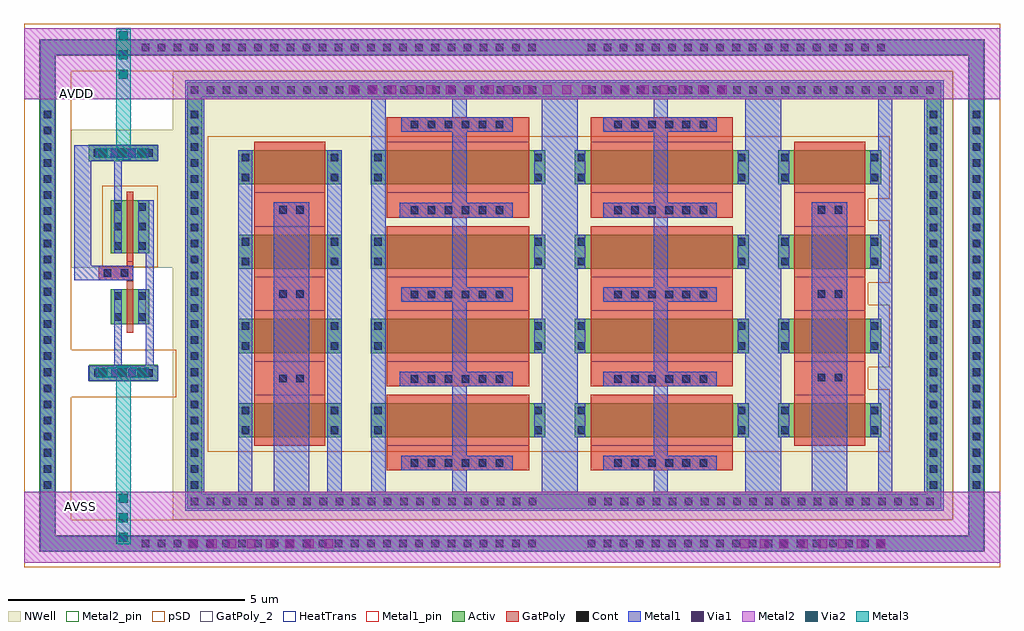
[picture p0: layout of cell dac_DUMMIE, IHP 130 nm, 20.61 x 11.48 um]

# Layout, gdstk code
import gdstk
lib = gdstk.Library(unit=1e-6, precision=1e-09)
def R(c, l, rs):  # rectangles x0, y0, x1, y1
    for r in rs: c.add(gdstk.rectangle(r[:2], r[2:], *l))
def A(c, l, x, y, w, h, nx, ny, dx, dy):  # array of equal rectangles
    R(c, l, [(x+i*dx, y+j*dy, x+i*dx+w, y+j*dy+h) for i in range(nx) for j in range(ny)])
def P(c, l, *ps):  # polygons
    for p in ps: c.add(gdstk.Polygon(p, *l))
Activ = (1, 0)
GatPoly = (5, 0)
GatPoly_2 = (5, 2)
Cont = (6, 0)
Metal1 = (8, 0)
Metal1_pin = (8, 2)
Metal2 = (10, 0)
Metal2_pin = (10, 2)
pSD = (14, 0)
Via1 = (19, 0)
Via2 = (29, 0)
Metal3 = (30, 0)
NWell = (31, 0)
HeatTrans = (51, 0)

pmos_3 = lib.new_cell('pmos$3')
R(pmos_3, Activ, [(0,0,0.3,0.3), (0,0,2.18,0.72), (1.88,0,2.18,0.3)])
R(pmos_3, GatPoly, [(0.34,-0.18,1.84,0.9), (0.34,-0.18,1.84,0.9)])
R(pmos_3, Cont, [(0.07,0.07,0.23,0.23), (1.95,0.07,2.11,0.23), (0.07,0.49,0.23,0.65), (1.95,0.49,2.11,0.65)])
R(pmos_3, Metal1, [(0.07,0,0.23,0.72), (0.07,0,0.23,0.72), (1.95,0,2.11,0.72), (1.95,0,2.11,0.72)])
R(pmos_3, pSD, [(-0.18,-0.3,2.36,1.02)])
R(pmos_3, NWell, [(-0.31,-0.31,2.49,1.03)])
R(pmos_3, HeatTrans, [(0.34,-0.18,1.84,0.9)])
pmos_3.add(gdstk.Label('pmos', (1.09,0.36), layer=63, texttype=0))
pmos_3.add(gdstk.Label('pmos', (1.09,0.36), layer=51, texttype=0))

via_stack_5 = lib.new_cell('via_stack$5')
R(via_stack_5, Metal1, [(-1.58,-0.105,1.58,0.105)])
R(via_stack_5, Metal2, [(-1.58,-0.1,1.58,0.1)])
A(via_stack_5, Via1, -1.53, -0.095, 0.19, 0.19, 8, 1, 0.41, 0)

via_stack_18 = lib.new_cell('via_stack$18')
R(via_stack_18, Metal1, [(-4.04,-0.105,4.04,0.105)])
R(via_stack_18, Metal2, [(-4.04,-0.1,4.04,0.1)])
A(via_stack_18, Via1, -3.99, -0.095, 0.19, 0.19, 20, 1, 0.41, 0)

via_stack_8 = lib.new_cell('via_stack$8')
R(via_stack_8, Metal2, [(-0.1,-0.555,0.1,0.555)])
A(via_stack_8, Via2, -0.095, -0.505, 0.19, 0.19, 1, 3, 0, 0.41)
R(via_stack_8, Metal3, [(-0.1,-0.555,0.1,0.555)])

via_stack_6 = lib.new_cell('via_stack$6')
R(via_stack_6, Metal1, [(-0.555,-0.105,0.555,0.105)])
R(via_stack_6, Metal2, [(-0.555,-0.1,0.555,0.1)])
A(via_stack_6, Via1, -0.505, -0.095, 0.19, 0.19, 3, 1, 0.41, 0)
A(via_stack_6, Via2, -0.505, -0.095, 0.19, 0.19, 3, 1, 0.41, 0)
R(via_stack_6, Metal3, [(-0.555,-0.1,0.555,0.1)])

pmos_2 = lib.new_cell('pmos$2')
R(pmos_2, Activ, [(0,0,0.3,0.3), (0,0,0.81,1.12), (0.51,0,0.81,0.3)])
R(pmos_2, GatPoly, [(0.34,-0.18,0.47,1.3), (0.34,-0.18,0.47,1.3)])
A(pmos_2, Cont, 0.07, 0.07, 0.16, 0.16, 1, 3, 0, 0.41)
A(pmos_2, Cont, 0.58, 0.07, 0.16, 0.16, 1, 3, 0, 0.41)
R(pmos_2, Metal1, [(0.07,0,0.23,1.12), (0.07,0,0.23,1.12), (0.58,0,0.74,1.12), (0.58,0,0.74,1.12)])
R(pmos_2, pSD, [(-0.18,-0.3,0.99,1.42)])
R(pmos_2, NWell, [(-0.31,-0.31,1.12,1.43)])
R(pmos_2, HeatTrans, [(0.34,-0.18,0.47,1.3)])
pmos_2.add(gdstk.Label('pmos', (0.405,0.56), layer=63, texttype=0))
pmos_2.add(gdstk.Label('pmos', (0.405,0.56), layer=51, texttype=0))

nmos_1 = lib.new_cell('nmos$1')
R(nmos_1, Activ, [(0,0,0.3,0.3), (0,0,0.81,0.74), (0.51,0,0.81,0.3)])
R(nmos_1, GatPoly, [(0.34,-0.18,0.47,0.92)])
R(nmos_1, GatPoly_2, [(0.34,-0.18,0.47,0.92)])
R(nmos_1, Cont, [(0.07,0.07,0.23,0.23), (0.58,0.07,0.74,0.23), (0.07,0.51,0.23,0.67), (0.58,0.51,0.74,0.67)])
R(nmos_1, Metal1, [(0.07,0,0.23,0.74), (0.58,0,0.74,0.74)])
R(nmos_1, Metal1_pin, [(0.07,0,0.23,0.74), (0.58,0,0.74,0.74)])
R(nmos_1, HeatTrans, [(0.34,-0.18,0.47,0.92)])
nmos_1.add(gdstk.Label('nmos', (0.405,0.37), layer=63, texttype=0))
nmos_1.add(gdstk.Label('nmos', (0.405,0.37), layer=51, texttype=0))

pmos_4 = lib.new_cell('pmos$4')
R(pmos_4, Activ, [(0,0,0.3,0.3), (0,0,3.68,0.72), (3.38,0,3.68,0.3)])
R(pmos_4, GatPoly, [(0.34,-0.18,3.34,0.9), (0.34,-0.18,3.34,0.9)])
R(pmos_4, Cont, [(0.07,0.07,0.23,0.23), (3.45,0.07,3.61,0.23), (0.07,0.49,0.23,0.65), (3.45,0.49,3.61,0.65)])
R(pmos_4, Metal1, [(0.07,0,0.23,0.72), (0.07,0,0.23,0.72), (3.45,0,3.61,0.72), (3.45,0,3.61,0.72)])
R(pmos_4, pSD, [(-0.18,-0.3,3.86,1.02)])
R(pmos_4, NWell, [(-0.31,-0.31,3.99,1.03)])
R(pmos_4, HeatTrans, [(0.34,-0.18,3.34,0.9)])
pmos_4.add(gdstk.Label('pmos', (1.84,0.36), layer=63, texttype=0))
pmos_4.add(gdstk.Label('pmos', (1.84,0.36), layer=51, texttype=0))

dac_dummie = lib.new_cell('dac_DUMMIE')
R(dac_dummie, Activ, [(22.665,144.725,24.115,145.075), (22.66,149.375,24.11,149.725)])
P(dac_dummie, Activ, [(24.74,142.04),(24.74,150.73),(25.05,150.73),(25.05,142.35),(40.35,142.35),(40.35,150.73),(24.74,150.73),(24.74,151.04),(40.66,151.04),(40.66,142.04)])
A(dac_dummie, GatPoly, 26.155, 144.445, 1.5, 0.7, 1, 3, 0, 1.78)
A(dac_dummie, GatPoly, 37.555, 144.445, 1.5, 0.7, 1, 3, 0, 1.78)
A(dac_dummie, GatPoly, 26.575, 144.635, 0.73, 0.31, 1, 3, 0, 1.78)
R(dac_dummie, GatPoly, [(28.955,142.845,31.955,143.365), (29.255,142.845,31.615,143.155), (33.255,142.845,36.255,143.365), (33.255,142.845,36.255,143.365), (33.525,142.845,35.915,143.155), (33.525,142.845,35.915,143.155), (28.955,144.625,31.955,145.145), (33.255,144.625,36.255,145.145), (37.945,144.65,38.675,144.96), (23.465,145.755,23.595,148.735), (28.955,146.225,31.955,146.925), (33.255,146.225,36.255,146.925), (29.255,146.405,31.615,146.715), (33.525,146.405,35.915,146.715), (37.945,146.42,38.675,146.73), (22.865,146.86,23.595,147.17), (28.955,148.185,31.955,148.705), (33.255,148.185,36.255,148.705), (37.945,148.195,38.675,148.505), (28.955,149.785,31.955,150.305), (33.255,149.785,36.255,150.305), (29.255,149.995,31.615,150.305), (33.525,149.995,35.915,150.305)])
A(dac_dummie, Cont, 23.775, 141.22, 0.16, 0.16, 25, 1, 0.34, 0)
A(dac_dummie, Cont, 33.19, 141.22, 0.16, 0.16, 19, 2, 0.34, 10.475)
A(dac_dummie, Cont, 24.81, 142.11, 0.16, 0.16, 22, 2, 0.34, 8.69)
A(dac_dummie, Cont, 33.205, 142.11, 0.16, 0.16, 22, 2, 0.34, 8.69)
A(dac_dummie, Cont, 24.81, 142.46, 0.16, 0.16, 1, 24, 0, 0.34)
A(dac_dummie, Cont, 40.42, 142.46, 0.16, 0.16, 1, 24, 0, 0.34)
A(dac_dummie, Cont, 29.455, 142.92, 0.16, 0.16, 6, 4, 0.36, 1.78)
A(dac_dummie, Cont, 33.755, 142.92, 0.16, 0.16, 6, 4, 0.36, 1.78)
A(dac_dummie, Cont, 26.68, 144.71, 0.16, 0.16, 1, 3, 0, 1.78)
A(dac_dummie, Cont, 27.04, 144.71, 0.16, 0.16, 1, 3, 0, 1.78)
A(dac_dummie, Cont, 22.77, 144.82, 0.16, 0.16, 4, 1, 0.36, 0)
A(dac_dummie, Cont, 41.32, 147.9, 0.16, 0.16, 1, 3, 0, 0.34)
A(dac_dummie, Cont, 22.765, 149.47, 0.16, 0.16, 4, 1, 0.36, 0)
A(dac_dummie, Cont, 29.455, 150.07, 0.16, 0.16, 6, 1, 0.36, 0)
A(dac_dummie, Cont, 33.755, 150.07, 0.16, 0.16, 6, 1, 0.36, 0)
A(dac_dummie, Cont, 23.775, 151.695, 0.16, 0.16, 23, 1, 0.34, 0)
R(dac_dummie, Cont, [(21.71,142.46,21.87,142.62), (21.71,142.46,21.87,142.62), (41.32,142.46,41.48,142.62), (41.32,142.46,41.48,142.62), (21.71,142.8,21.87,142.96), (21.71,142.8,21.87,142.96), (41.32,142.8,41.48,142.96), (41.32,142.8,41.48,142.96), (21.71,143.14,21.87,143.3), (21.71,143.14,21.87,143.3), (41.32,143.14,41.48,143.3), (41.32,143.14,41.48,143.3), (21.71,143.48,21.87,143.64), (21.71,143.48,21.87,143.64), (41.32,143.48,41.48,143.64), (41.32,143.48,41.48,143.64), (21.71,143.82,21.87,143.98), (21.71,143.82,21.87,143.98), (41.32,143.82,41.48,143.98), (41.32,143.82,41.48,143.98), (21.71,144.16,21.87,144.32), (21.71,144.16,21.87,144.32), (41.32,144.16,41.48,144.32), (41.32,144.16,41.48,144.32), (21.71,144.5,21.87,144.66), (21.71,144.5,21.87,144.66), (41.32,144.5,41.48,144.66), (41.32,144.5,41.48,144.66), (38.05,144.725,38.21,144.885), (38.41,144.725,38.57,144.885), (21.71,144.84,21.87,145), (21.71,144.84,21.87,145), (41.32,144.84,41.48,145), (41.32,144.84,41.48,145), (21.71,145.18,21.87,145.34), (21.71,145.18,21.87,145.34), (41.32,145.18,41.48,145.34), (41.32,145.18,41.48,145.34), (21.71,145.52,21.87,145.68), (21.71,145.52,21.87,145.68), (41.32,145.52,41.48,145.68), (41.32,145.52,41.48,145.68), (21.71,145.86,21.87,146.02), (21.71,145.86,21.87,146.02), (41.32,145.86,41.48,146.02), (41.32,145.86,41.48,146.02), (21.71,146.2,21.87,146.36), (21.71,146.2,21.87,146.36), (41.32,146.2,41.48,146.36), (41.32,146.2,41.48,146.36), (38.05,146.495,38.21,146.655), (38.41,146.495,38.57,146.655), (21.71,146.54,21.87,146.7), (21.71,146.54,21.87,146.7), (41.32,146.54,41.48,146.7), (41.32,146.54,41.48,146.7), (21.71,146.88,21.87,147.04), (21.71,146.88,21.87,147.04), (41.32,146.88,41.48,147.04), (41.32,146.88,41.48,147.04), (22.97,146.935,23.13,147.095), (23.33,146.935,23.49,147.095), (21.71,147.22,21.87,147.38), (21.71,147.22,21.87,147.38), (41.32,147.22,41.48,147.38), (41.32,147.22,41.48,147.38), (21.71,147.56,21.87,147.72), (21.71,147.56,21.87,147.72), (41.32,147.56,41.48,147.72), (41.32,147.56,41.48,147.72), (21.71,147.9,21.87,148.06), (21.71,147.9,21.87,148.06), (41.32,147.9,41.48,148.06), (21.71,148.24,21.87,148.4), (21.71,148.24,21.87,148.4), (38.05,148.27,38.21,148.43), (38.41,148.27,38.57,148.43), (21.71,148.58,21.87,148.74), (21.71,148.58,21.87,148.74), (41.32,148.58,41.48,148.74), (21.71,148.92,21.87,149.08), (21.71,148.92,21.87,149.08), (41.32,148.92,41.48,149.08), (41.32,148.92,41.48,149.08), (21.71,149.26,21.87,149.42), (21.71,149.26,21.87,149.42), (41.32,149.26,41.48,149.42), (41.32,149.26,41.48,149.42), (21.71,149.6,21.87,149.76), (21.71,149.6,21.87,149.76), (41.32,149.6,41.48,149.76), (41.32,149.6,41.48,149.76), (21.71,149.94,21.87,150.1), (21.71,149.94,21.87,150.1), (41.32,149.94,41.48,150.1), (41.32,149.94,41.48,150.1), (21.71,150.28,21.87,150.44), (21.71,150.28,21.87,150.44), (41.32,150.28,41.48,150.44), (41.32,150.28,41.48,150.44), (31.255,151.695,31.415,151.855), (31.595,151.695,31.755,151.855), (31.595,151.695,31.755,151.855), (31.935,151.695,32.095,151.855), (31.935,151.695,32.095,151.855)])
A(dac_dummie, Metal1, 33.525, 142.845, 2.39, 0.31, 1, 4, 0, 1.78)
A(dac_dummie, Metal1, 26.575, 144.635, 0.73, 0.31, 1, 3, 0, 1.78)
R(dac_dummie, Metal1, [(24.69,141.99,25.1,151.09), (25.815,141.99,26.115,149.605), (26.565,141.99,27.315,148.505), (27.695,141.99,27.995,149.605), (29.255,142.845,31.615,143.155), (29.225,144.625,31.615,144.935), (37.945,144.65,38.675,144.96), (22.65,144.74,24.13,145.06), (23.195,144.74,23.355,146.675), (23.865,144.81,24.025,148.555), (29.255,146.405,31.615,146.715), (37.945,146.42,38.675,146.73), (22.355,146.86,22.71,149.71), (22.865,146.86,23.595,147.17), (23.195,147.435,23.355,149.71), (29.225,148.185,31.615,148.495), (37.945,148.195,38.675,148.505), (22.645,149.39,24.125,149.71), (29.255,149.995,31.615,150.305), (33.525,149.995,35.915,150.305)])
P(dac_dummie, Metal1, [(24.69,141.99),(24.69,150.68),(25.1,150.68),(25.1,142.4),(40.3,142.4),(40.3,150.68),(24.69,150.68),(24.69,151.09),(40.71,151.09),(40.71,141.99)])
R(dac_dummie, Metal2_pin, [(21.29,140.9,41.9,142.4), (21.29,150.68,41.9,152.18)])
R(dac_dummie, pSD, [(25.175,143.245,39.115,149.905), (22.29,144.39,22.295,145.39), (22.295,144.39,24.505,145.39)])
R(dac_dummie, NWell, [(24.43,141.8,25.005,151.28), (24.5,141.8,40.9,151.28), (22.29,147.125,24.5,150.04)])
P(dac_dummie, NWell, [(24.5,141.8),(24.5,150.49),(25.29,150.49),(25.29,142.59),(40.11,142.59),(40.11,150.49),(24.5,150.49),(24.5,151.28),(40.9,151.28),(40.9,141.8)])
dac_dummie.add(gdstk.FlexPath([(32.605,141.99),(32.605,151.09)], 0.76, ends="flush", simple_path=True, layer=8, datatype=0))  # Metal1
dac_dummie.add(gdstk.FlexPath([(23.595,147.015),(22.485,147.015)], 0.31, ends="flush", simple_path=True, layer=8, datatype=0))  # Metal1
dac_dummie.add(gdstk.FlexPath([(36.905,141.99),(36.905,151.09)], 0.76, ends="flush", simple_path=True, layer=8, datatype=0))  # Metal1
dac_dummie.add(gdstk.FlexPath([(25.965,149.605),(25.965,141.99)], 0.3, ends="flush", simple_path=True, layer=8, datatype=0))  # Metal1
dac_dummie.add(gdstk.FlexPath([(39.475,141.99),(39.475,151.09)], 0.3, ends="flush", simple_path=True, layer=8, datatype=0))  # Metal1
dac_dummie.add(gdstk.FlexPath([(27.845,149.605),(27.845,141.99)], 0.3, ends="flush", simple_path=True, layer=8, datatype=0))  # Metal1
dac_dummie.add(gdstk.FlexPath([(26.94,141.99),(26.94,148.505)], 0.75, ends="flush", simple_path=True, layer=8, datatype=0))  # Metal1
dac_dummie.add(gdstk.FlexPath([(34.735,141.99),(34.735,151.09)], 0.3, ends="flush", simple_path=True, layer=8, datatype=0))  # Metal1
dac_dummie.add(gdstk.FlexPath([(30.485,141.99),(30.485,151.09)], 0.3, ends="flush", simple_path=True, layer=8, datatype=0))  # Metal1
dac_dummie.add(gdstk.FlexPath([(28.775,141.99),(28.775,151.09)], 0.3, ends="flush", simple_path=True, layer=8, datatype=0))  # Metal1
dac_dummie.add(gdstk.FlexPath([(22.5,146.86),(22.5,149.71)], 0.29, ends="flush", simple_path=True, layer=8, datatype=0))  # Metal1
dac_dummie.add(gdstk.FlexPath([(41.4,141.3),(41.4,151.78),(21.79,151.78),(21.79,141.3),(41.56,141.3)], 0.32, ends="flush", simple_path=True, layer=8, datatype=0))  # Metal1
dac_dummie.add(gdstk.FlexPath([(38.3,141.99),(38.3,148.505)], 0.75, ends="flush", simple_path=True, layer=8, datatype=0))  # Metal1
dac_dummie.add(gdstk.FlexPath([(41.4,141.3),(41.4,151.78),(21.79,151.78),(21.79,141.3),(41.575,141.3)], 0.35, ends="flush", simple_path=True, layer=1, datatype=0))  # Activ
dac_dummie.add(gdstk.FlexPath([(21.29,141.65),(41.9,141.65)], 1.5, ends="flush", simple_path=True, layer=10, datatype=0))  # Metal2
dac_dummie.add(gdstk.FlexPath([(21.29,151.43),(41.9,151.43)], 1.5, ends="flush", simple_path=True, layer=10, datatype=0))  # Metal2
dac_dummie.add(gdstk.FlexPath([(23.39,141.29),(23.39,145.06)], 0.3, ends="flush", simple_path=True, layer=30, datatype=0))  # Metal3
dac_dummie.add(gdstk.FlexPath([(23.39,149.405),(23.39,152.175)], 0.3, ends="flush", simple_path=True, layer=30, datatype=0))  # Metal3
dac_dummie.add(gdstk.FlexPath([(23.53,146.855),(23.53,147.26)], 0.13, ends="flush", simple_path=True, layer=5, datatype=0))  # GatPoly
dac_dummie.add(gdstk.FlexPath([(41.4,140.8),(41.4,151.78),(21.79,151.78),(21.79,141.3),(41.9,141.3)], 1, ends="flush", simple_path=True, layer=14, datatype=0))  # pSD
dac_dummie.add(gdstk.Reference(pmos_3, (25.815,148.885)))
dac_dummie.add(gdstk.Reference(via_stack_5, (26.29,141.3)))
dac_dummie.add(gdstk.Reference(via_stack_18, (32.135,150.885)))
dac_dummie.add(gdstk.Reference(via_stack_5, (37.95,141.3)))
dac_dummie.add(gdstk.Reference(via_stack_8, (23.39,151.62)))
dac_dummie.add(gdstk.Reference(via_stack_6, (23.365,149.55)))
dac_dummie.add(gdstk.Reference(via_stack_8, (23.39,141.845)))
dac_dummie.add(gdstk.Reference(pmos_2, (23.125,147.435)))
dac_dummie.add(gdstk.Reference(via_stack_6, (23.365,144.915)))
dac_dummie.add(gdstk.Reference(nmos_1, (23.125,145.935)))
dac_dummie.add(gdstk.Reference(pmos_4, (28.615,148.885)))
dac_dummie.add(gdstk.Reference(pmos_4, (32.915,148.885)))
dac_dummie.add(gdstk.Reference(pmos_4, (28.615,147.105)))
dac_dummie.add(gdstk.Reference(pmos_4, (32.915,147.105)))
dac_dummie.add(gdstk.Reference(pmos_4, (28.615,145.325)))
dac_dummie.add(gdstk.Reference(pmos_4, (32.915,145.325)))
dac_dummie.add(gdstk.Reference(pmos_4, (28.615,143.545)))
dac_dummie.add(gdstk.Reference(pmos_4, (32.915,143.545)))
dac_dummie.add(gdstk.Reference(pmos_3, (25.815,147.105)))
dac_dummie.add(gdstk.Reference(pmos_3, (25.815,145.325)))
dac_dummie.add(gdstk.Reference(pmos_3, (25.815,143.545)))
dac_dummie.add(gdstk.Reference(pmos_3, (37.215,148.885)))
dac_dummie.add(gdstk.Reference(pmos_3, (37.215,147.105)))
dac_dummie.add(gdstk.Reference(pmos_3, (37.215,145.325)))
dac_dummie.add(gdstk.Reference(pmos_3, (37.215,143.545)))
dac_dummie.add(gdstk.Label('AVDD', (22.395,150.8), layer=10, texttype=25))
dac_dummie.add(gdstk.Label('AVSS', (22.48,142.09), layer=10, texttype=25))

lib.write_gds('dac_DUMMIE.gds')
